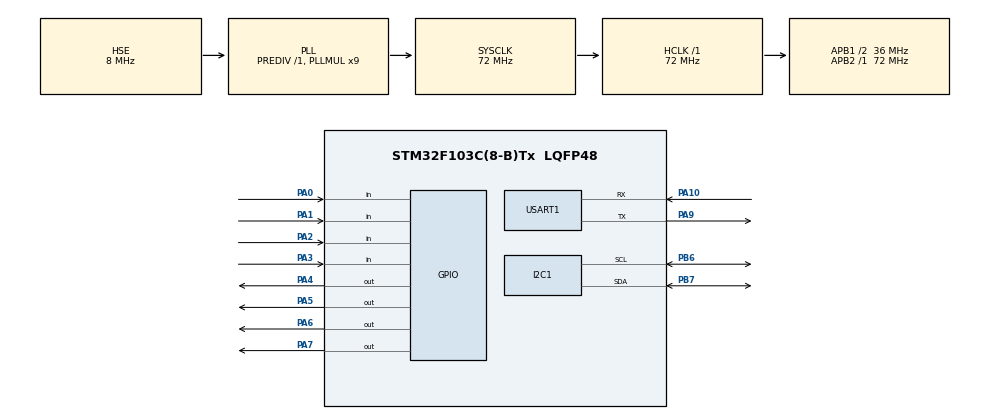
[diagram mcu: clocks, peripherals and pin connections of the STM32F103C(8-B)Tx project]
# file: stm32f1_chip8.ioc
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FREERTOS.Tasks01=defaultTask,0,128,StartDefaultTask,Default,NULL
Mcu.Family=STM32F1
Mcu.Name=STM32F103C(8-B)Tx
Mcu.Package=LQFP48
NVIC.PriorityGroup=NVIC_PRIORITYGROUP_4
NVIC.TIM1_UP_IRQn=true\:0\:0\:false\:false\:true\:false\:false\:true
NVIC.TimeBase=TIM1_UP_IRQn
NVIC.TimeBaseIP=TIM1
PA0-WKUP.GPIO_PuPd=GPIO_PULLUP
PA0-WKUP.Signal=GPIO_Input
PA1.GPIO_PuPd=GPIO_PULLUP
PA1.Signal=GPIO_Input
PA10.Mode=Asynchronous
PA10.Signal=USART1_RX
PA2.GPIO_PuPd=GPIO_PULLUP
PA2.Signal=GPIO_Input
PA3.GPIO_PuPd=GPIO_PULLUP
PA3.Signal=GPIO_Input
PA4.Signal=GPIO_Output
PA5.Signal=GPIO_Output
PA6.Signal=GPIO_Output
PA7.Signal=GPIO_Output
PA9.Mode=Asynchronous
PA9.Signal=USART1_TX
PB6.Mode=I2C
PB6.Signal=I2C1_SCL
PB7.Mode=I2C
PB7.Signal=I2C1_SDA
PD0-OSC_IN.Mode=HSE-External-Oscillator
PD0-OSC_IN.Signal=RCC_OSC_IN
PD1-OSC_OUT.Mode=HSE-External-Oscillator
PD1-OSC_OUT.Signal=RCC_OSC_OUT
ProjectManager.HeapSize=0x200
ProjectManager.StackSize=0x400
ProjectManager.TargetToolchain=SW4STM32
RCC.AHBFreq_Value=72000000
RCC.APB1CLKDivider=RCC_HCLK_DIV2
RCC.APB1Freq_Value=36000000
RCC.APB1TimFreq_Value=72000000
RCC.APB2Freq_Value=72000000
RCC.APB2TimFreq_Value=72000000
RCC.HCLKFreq_Value=72000000
RCC.PLLMUL=RCC_PLL_MUL9
RCC.PLLSourceVirtual=RCC_PLLSOURCE_HSE
RCC.SYSCLKFreq_VALUE=72000000
RCC.SYSCLKSource=RCC_SYSCLKSOURCE_PLLCLK
RCC.USBFreq_Value=72000000
USART1.VirtualMode=VM_ASYNC
VP_FREERTOS_VS_CMSIS_V1.Mode=CMSIS_V1
VP_SYS_VS_ND.Mode=No_Debug
VP_SYS_VS_tim1.Mode=TIM1
board=custom

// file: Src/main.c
/* USER CODE BEGIN Header */
/**
 ******************************************************************************
 * @file           : main.c
 * @brief          : Main program body
 ******************************************************************************
 * @attention
 *
 * <h2><center>&copy; Copyright (c) 2019 STMicroelectronics.
 * All rights reserved.</center></h2>
 *
 * This software component is licensed by ST under BSD 3-Clause license,
 * the "License"; You may not use this file except in compliance with the
 * License. You may obtain a copy of the License at:
 *                        opensource.org/licenses/BSD-3-Clause
 *
 ******************************************************************************
 */
/* USER CODE END Header */

#include "main.h"
#include "cmsis_os.h"

/* USER CODE BEGIN Includes */
#include <stdbool.h>
#include <string.h>
#include "keypad/Keypad.h"
#include "keypad/config.h"
#include "SSD1306/SSD1306.h"
#include "chip8/chip8.h"
#include "chip8/chip8_config.h"
#include "chip8/roms.h"

/* USER CODE END Includes */

I2C_HandleTypeDef hi2c1;

UART_HandleTypeDef huart1;

osThreadId defaultTaskHandle;
/* USER CODE BEGIN PV */
osThreadId chip8TaskHandle;
osThreadId drawTaskHandle;
osThreadId keyscanTaskHandle;
osThreadId delayTaskHandle;
osThreadId soundTaskHandle;

/* USER CODE END PV */

void SystemClock_Config(void);
static void MX_GPIO_Init(void);
static void MX_I2C1_Init(void);
static void MX_USART1_UART_Init(void);
void StartDefaultTask(void const * argument);

/* USER CODE BEGIN PFP */
void chip8_task(void const *argument);
void draw_task(void const *argument);
void keyscan_task(void const *argument);
void delay_counter_task(void const *argument);
void sound_counter_task(void const *argument);
void _print_give_sem();

/* USER CODE END PFP */

/* USER CODE BEGIN 0 */
char str_buf[64];
Keypad keypad;
ssd1306 oled;
SemaphoreHandle_t redraw_signal;
Chip8 c8;
/* USER CODE END 0 */

int main(void) {

	/* MCU Configuration--------------------------------------------------------*/

	/* Reset of all peripherals, Initializes the Flash interface and the Systick. */
	HAL_Init();

	/* Configure the system clock */
	SystemClock_Config();

	/* Initialize all configured peripherals */
	MX_GPIO_Init();
	MX_I2C1_Init();
	MX_USART1_UART_Init();
	/* USER CODE BEGIN 2 */

	//load game rom onto main memory
	chip8_loadmem(&c8, invaders, sizeof(invaders));

	chip8_get_tick = _get_tick;

	//initialize game window
	_window_init();

	vSemaphoreCreateBinary(redraw_signal);

	//initialize Chip8 core
	chip8_init(&c8);

	/* USER CODE END 2 */

	/* Create the thread(s) */
	/* definition and creation of defaultTask */
//  osThreadDef(defaultTask, StartDefaultTask, osPriorityNormal, 0, 128);
//  defaultTaskHandle = osThreadCreate(osThread(defaultTask), NULL);
	/* USER CODE BEGIN RTOS_THREADS */
	/* add threads, ... */

	osThreadDef(chip8_task, chip8_task, osPriorityNormal, 0, 128 * 3);
	chip8TaskHandle = osThreadCreate(osThread(chip8_task), NULL);

	osThreadDef(draw_task, draw_task, osPriorityNormal, 0, 128);
	drawTaskHandle = osThreadCreate(osThread(draw_task), NULL);

	osThreadDef(delay_task, delay_counter_task, osPriorityNormal, 0, 128);
	delayTaskHandle = osThreadCreate(osThread(delay_task), NULL);

	osThreadDef(keyscan_task, keyscan_task, osPriorityNormal, 0, 128);
	keyscanTaskHandle = osThreadCreate(osThread(keyscan_task), NULL);

	/* USER CODE END RTOS_THREADS */

	/* Start scheduler */
	osKernelStart();

	/* We should never get here as control is now taken by the scheduler */

	/* Infinite loop */
	while (1) {

	}
}

void SystemClock_Config(void) {
	RCC_OscInitTypeDef RCC_OscInitStruct = { 0 };
	RCC_ClkInitTypeDef RCC_ClkInitStruct = { 0 };

	/** Initializes the CPU, AHB and APB busses clocks
	 */
	RCC_OscInitStruct.OscillatorType = RCC_OSCILLATORTYPE_HSE;
	RCC_OscInitStruct.HSEState = RCC_HSE_ON;
	RCC_OscInitStruct.HSEPredivValue = RCC_HSE_PREDIV_DIV1;
	RCC_OscInitStruct.HSIState = RCC_HSI_ON;
	RCC_OscInitStruct.PLL.PLLState = RCC_PLL_ON;
	RCC_OscInitStruct.PLL.PLLSource = RCC_PLLSOURCE_HSE;
	RCC_OscInitStruct.PLL.PLLMUL = RCC_PLL_MUL9;
	if (HAL_RCC_OscConfig(&RCC_OscInitStruct) != HAL_OK) {
		Error_Handler();
	}
	/** Initializes the CPU, AHB and APB busses clocks
	 */
	RCC_ClkInitStruct.ClockType = RCC_CLOCKTYPE_HCLK | RCC_CLOCKTYPE_SYSCLK
			| RCC_CLOCKTYPE_PCLK1 | RCC_CLOCKTYPE_PCLK2;
	RCC_ClkInitStruct.SYSCLKSource = RCC_SYSCLKSOURCE_PLLCLK;
	RCC_ClkInitStruct.AHBCLKDivider = RCC_SYSCLK_DIV1;
	RCC_ClkInitStruct.APB1CLKDivider = RCC_HCLK_DIV2;
	RCC_ClkInitStruct.APB2CLKDivider = RCC_HCLK_DIV1;

	if (HAL_RCC_ClockConfig(&RCC_ClkInitStruct, FLASH_LATENCY_2) != HAL_OK) {
		Error_Handler();
	}
}

static void MX_I2C1_Init(void) {

	hi2c1.Instance = I2C1;
	hi2c1.Init.ClockSpeed = 400000;
	hi2c1.Init.DutyCycle = I2C_DUTYCYCLE_2;
	hi2c1.Init.OwnAddress1 = 0;
	hi2c1.Init.AddressingMode = I2C_ADDRESSINGMODE_7BIT;
	hi2c1.Init.DualAddressMode = I2C_DUALADDRESS_DISABLE;
	hi2c1.Init.OwnAddress2 = 0;
	hi2c1.Init.GeneralCallMode = I2C_GENERALCALL_DISABLE;
	hi2c1.Init.NoStretchMode = I2C_NOSTRETCH_DISABLE;
	if (HAL_I2C_Init(&hi2c1) != HAL_OK) {
		Error_Handler();
	}

}

static void MX_USART1_UART_Init(void) {

	huart1.Instance = USART1;
	huart1.Init.BaudRate = 115200;
	huart1.Init.WordLength = UART_WORDLENGTH_8B;
	huart1.Init.StopBits = UART_STOPBITS_1;
	huart1.Init.Parity = UART_PARITY_NONE;
	huart1.Init.Mode = UART_MODE_TX_RX;
	huart1.Init.HwFlowCtl = UART_HWCONTROL_NONE;
	huart1.Init.OverSampling = UART_OVERSAMPLING_16;
	if (HAL_UART_Init(&huart1) != HAL_OK) {
		Error_Handler();
	}

}

static void MX_GPIO_Init(void) {
	GPIO_InitTypeDef GPIO_InitStruct = { 0 };

	/* GPIO Ports Clock Enable */
	__HAL_RCC_GPIOD_CLK_ENABLE()
	;
	__HAL_RCC_GPIOA_CLK_ENABLE()
	;
	__HAL_RCC_GPIOB_CLK_ENABLE()
	;

	/*Configure GPIO pin Output Level */
	HAL_GPIO_WritePin(GPIOA, GPIO_PIN_4 | GPIO_PIN_5 | GPIO_PIN_6 | GPIO_PIN_7,
			GPIO_PIN_RESET);

	/*Configure GPIO pins : PA0 PA1 PA2 PA3 */
	GPIO_InitStruct.Pin = GPIO_PIN_0 | GPIO_PIN_1 | GPIO_PIN_2 | GPIO_PIN_3;
	GPIO_InitStruct.Mode = GPIO_MODE_INPUT;
	GPIO_InitStruct.Pull = GPIO_PULLUP;
	HAL_GPIO_Init(GPIOA, &GPIO_InitStruct);

	/*Configure GPIO pins : PA4 PA5 PA6 PA7 */
	GPIO_InitStruct.Pin = GPIO_PIN_4 | GPIO_PIN_5 | GPIO_PIN_6 | GPIO_PIN_7;
	GPIO_InitStruct.Mode = GPIO_MODE_OUTPUT_PP;
	GPIO_InitStruct.Pull = GPIO_NOPULL;
	GPIO_InitStruct.Speed = GPIO_SPEED_FREQ_LOW;
	HAL_GPIO_Init(GPIOA, &GPIO_InitStruct);

}

/* USER CODE BEGIN 4 */
/*
Main Chip8 task. Responsible for cycling the
chip8.
*/
void chip8_task(void const *argument) {

	for (;;) {
		while (!c8.halt) {
			chip8_clockcycle(&c8);
		}

		_window_kill();
	}

}

/*
Keyscan task. Responsible for polling the keyboard
and registering keypresses. Whenever a keypress is
detected, the corresponding key flag is set in the
chip8's keypad register. It is cleared when the key
is released.
*/
void keyscan_task(void const *argument) {

	Keypad keypad;
	keypad._write_row = _write_row;
	keypad._read_col = _read_col;
	keypad._get_ms_tick = _get_ms_tick;
	keypad_init(&keypad, keymap);
	for (;;) {
		if (keypad_getchar(&keypad)) {
			char key = keypad.keypress;

			(key == '0') ? chip8_keyset(&c8, 0x00) : chip8_keyreset(&c8, 0x00);
			(key == '1') ? chip8_keyset(&c8, 0x01) : chip8_keyreset(&c8, 0x01);
			(key == '2') ? chip8_keyset(&c8, 0x02) : chip8_keyreset(&c8, 0x02);
			(key == '3') ? chip8_keyset(&c8, 0x03) : chip8_keyreset(&c8, 0x03);
			(key == '4') ? chip8_keyset(&c8, 0x04) : chip8_keyreset(&c8, 0x04);
			(key == '5') ? chip8_keyset(&c8, 0x05) : chip8_keyreset(&c8, 0x05);
			(key == '6') ? chip8_keyset(&c8, 0x06) : chip8_keyreset(&c8, 0x06);
			(key == '7') ? chip8_keyset(&c8, 0x07) : chip8_keyreset(&c8, 0x07);
			(key == '8') ? chip8_keyset(&c8, 0x08) : chip8_keyreset(&c8, 0x08);
			(key == '9') ? chip8_keyset(&c8, 0x09) : chip8_keyreset(&c8, 0x09);
			(key == 'A') ? chip8_keyset(&c8, 0x0A) : chip8_keyreset(&c8, 0x0A);
			(key == 'B') ? chip8_keyset(&c8, 0x0B) : chip8_keyreset(&c8, 0x0B);
			(key == 'C') ? chip8_keyset(&c8, 0x0C) : chip8_keyreset(&c8, 0x0C);
			(key == 'D') ? chip8_keyset(&c8, 0x0D) : chip8_keyreset(&c8, 0x0D);
			(key == '*') ? chip8_keyset(&c8, 0x0E) : chip8_keyreset(&c8, 0x0E);
			(key == '#') ? chip8_keyset(&c8, 0x0F) : chip8_keyreset(&c8, 0x0F);

		} else {
			chip8_keyreset(&c8, 0x00);
			chip8_keyreset(&c8, 0x01);
			chip8_keyreset(&c8, 0x02);
			chip8_keyreset(&c8, 0x03);
			chip8_keyreset(&c8, 0x04);
			chip8_keyreset(&c8, 0x05);
			chip8_keyreset(&c8, 0x06);
			chip8_keyreset(&c8, 0x07);
			chip8_keyreset(&c8, 0x08);
			chip8_keyreset(&c8, 0x09);
			chip8_keyreset(&c8, 0x0A);
			chip8_keyreset(&c8, 0x0B);
			chip8_keyreset(&c8, 0x0C);
			chip8_keyreset(&c8, 0x0D);
			chip8_keyreset(&c8, 0x0E);
			chip8_keyreset(&c8, 0x0F);
		}

		vTaskDelay(2 / portTICK_RATE_MS);
	}
}

/*
Task that is responsible for drawing onto the OLED.
It is set of whenever the chip8's redraw flag is set
to true. At which point, the chip8's graphics buffer
is loaded onto the OLED's graphics memory.
*/
void draw_task(void const *argument) {

	while (1) {
		if (xSemaphoreTake(redraw_signal, 9999999)) {
			for (uint16_t y = 0; y < 32; y++) {
				for (uint16_t x = 0; x < 64; x++) {
					bool state = (chip8_pixel_test(&c8, x, y)) ? true : false;
					if (state == true) {
						ssd1306_fill_rectangle(&oled, x * 2, y * 2, 2, 2, true);
					} else {
						ssd1306_fill_rectangle(&oled, x * 2, y * 2, 2, 2,
								false);
					}

				}
			}
			ssd1306_refresh(&oled);
		}

	}
}

/*
 * Chip8 sound and delay counter tasks. Both count down at a rate of 60 times/second. Used
 * by the Chip8 for system delays and generating sound
 * TODO: implement sound generation
 * */
void sound_counter_task(void const *argument) {

	for (;;) {
		if (c8.sound > 0) {
			c8.sound -= 1;
			vTaskDelay(16 / portTICK_RATE_MS);
		}
	}

}
void delay_counter_task(void const *argument) {

	for (;;) {
		if (c8.delay > 0) {
			c8.delay -= 1;
			vTaskDelay(16 / portTICK_RATE_MS);
		}
	}

}

/* USER CODE END 4 */

/*
 * Debug task used to test for keypresses.
 * */
void StartDefaultTask(void const * argument) {

	/* USER CODE BEGIN 5 */
	/* Infinite loop */
	for (;;) {
//    osDelay(1);
		if (keypad_getchar(&keypad)) {
			memset(str_buf, 0, 64);
			sprintf(str_buf, "%c\r\n", keypad.keypress);
			HAL_UART_Transmit(&huart1, (uint8_t *) str_buf, strlen(str_buf),
					50);
		}
	}
	/* USER CODE END 5 */
}

void HAL_TIM_PeriodElapsedCallback(TIM_HandleTypeDef *htim) {
	if (htim->Instance == TIM1) {
		HAL_IncTick();
	}
}

void Error_Handler(void) {
}

/************************ (C) COPYRIGHT STMicroelectronics *****END OF FILE****/
